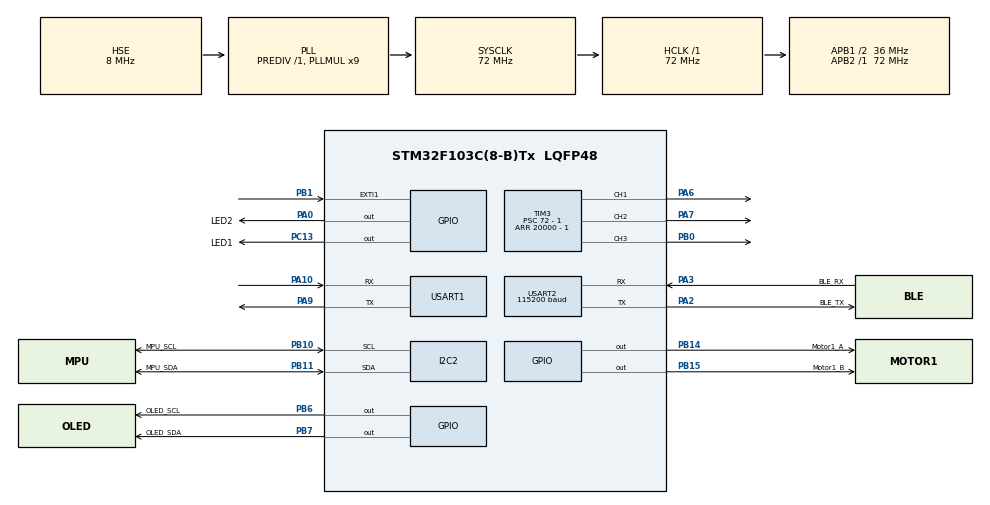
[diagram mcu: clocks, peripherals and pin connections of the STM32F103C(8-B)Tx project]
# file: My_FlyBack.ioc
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Dma.Request0=USART2_RX
Dma.Request1=USART2_TX
Dma.USART2_RX.0.Direction=DMA_PERIPH_TO_MEMORY
Dma.USART2_RX.0.Instance=DMA1_Channel6
Dma.USART2_RX.0.MemDataAlignment=DMA_MDATAALIGN_BYTE
Dma.USART2_RX.0.MemInc=DMA_MINC_ENABLE
Dma.USART2_RX.0.Mode=DMA_CIRCULAR
Dma.USART2_RX.0.PeriphDataAlignment=DMA_PDATAALIGN_BYTE
Dma.USART2_RX.0.PeriphInc=DMA_PINC_DISABLE
Dma.USART2_RX.0.Priority=DMA_PRIORITY_HIGH
Dma.USART2_TX.1.Direction=DMA_MEMORY_TO_PERIPH
Dma.USART2_TX.1.Instance=DMA1_Channel7
Dma.USART2_TX.1.MemDataAlignment=DMA_MDATAALIGN_BYTE
Dma.USART2_TX.1.MemInc=DMA_MINC_ENABLE
Dma.USART2_TX.1.Mode=DMA_CIRCULAR
Dma.USART2_TX.1.PeriphDataAlignment=DMA_PDATAALIGN_BYTE
Dma.USART2_TX.1.PeriphInc=DMA_PINC_DISABLE
Dma.USART2_TX.1.Priority=DMA_PRIORITY_LOW
FREERTOS.Tasks01=defaultTask,0,128,StartDefaultTask,Default,NULL,Dynamic,NULL,NULL;myTask02,-3,128,StartTask02,Default,NULL,Dynamic,NULL,NULL
I2C2.I2C_Mode=I2C_Fast
Mcu.Family=STM32F1
Mcu.Name=STM32F103C(8-B)Tx
Mcu.Package=LQFP48
NVIC.DMA1_Channel6_IRQn=true\:5\:0\:false\:false\:true\:true\:false\:true\:true
NVIC.DMA1_Channel7_IRQn=true\:5\:0\:false\:false\:true\:true\:false\:true\:true
NVIC.EXTI1_IRQn=true\:6\:0\:true\:false\:true\:true\:true\:true\:true
NVIC.PriorityGroup=NVIC_PRIORITYGROUP_4
NVIC.TIM2_IRQn=true\:6\:0\:true\:false\:true\:true\:true\:true\:true
NVIC.USART2_IRQn=true\:5\:0\:true\:false\:true\:true\:true\:true\:true
PA0-WKUP.GPIO_Label=LED2
PA0-WKUP.Signal=GPIO_Output
PA10.Mode=Asynchronous
PA10.Signal=USART1_RX
PA13.Mode=Serial_Wire
PA13.Signal=SYS_JTMS-SWDIO
PA14.Mode=Serial_Wire
PA14.Signal=SYS_JTCK-SWCLK
PA2.GPIO_Label=BLE_TX
PA2.Mode=Asynchronous
PA2.Signal=USART2_TX
PA3.GPIO_Label=BLE_RX
PA3.Mode=Asynchronous
PA3.Signal=USART2_RX
PA6.Signal=S_TIM3_CH1
PA7.Signal=S_TIM3_CH2
PA9.Mode=Asynchronous
PA9.Signal=USART1_TX
PB0.Signal=S_TIM3_CH3
PB1.GPIO_ModeDefaultEXTI=GPIO_MODE_IT_FALLING
PB1.Signal=GPXTI1
PB10.GPIO_Label=MPU_SCL
PB10.Mode=I2C
PB10.Signal=I2C2_SCL
PB11.GPIO_Label=MPU_SDA
PB11.Mode=I2C
PB11.Signal=I2C2_SDA
PB14.GPIO_Label=Motor1_A
PB14.GPIO_Speed=GPIO_SPEED_FREQ_LOW
PB14.Signal=GPIO_Output
PB15.GPIO_Label=Motor1_B
PB15.Signal=GPIO_Output
PB6.GPIO_Label=OLED_SCL
PB6.GPIO_Speed=GPIO_SPEED_FREQ_HIGH
PB6.Signal=GPIO_Output
PB7.GPIO_Label=OLED_SDA
PB7.GPIO_ModeDefaultOutputPP=GPIO_MODE_OUTPUT_OD
PB7.GPIO_PuPd=GPIO_PULLUP
PB7.GPIO_Speed=GPIO_SPEED_FREQ_HIGH
PB7.Signal=GPIO_Output
PC13-TAMPER-RTC.GPIO_Label=LED1
PC13-TAMPER-RTC.Signal=GPIO_Output
PD0-OSC_IN.Mode=HSE-External-Oscillator
PD0-OSC_IN.Signal=RCC_OSC_IN
PD1-OSC_OUT.Mode=HSE-External-Oscillator
PD1-OSC_OUT.Signal=RCC_OSC_OUT
ProjectManager.HeapSize=0x200
ProjectManager.StackSize=0x400
ProjectManager.TargetToolchain=SW4STM32
RCC.AHBFreq_Value=72000000
RCC.APB1CLKDivider=RCC_HCLK_DIV2
RCC.APB1Freq_Value=36000000
RCC.APB1TimFreq_Value=72000000
RCC.APB2Freq_Value=72000000
RCC.APB2TimFreq_Value=72000000
RCC.HCLKFreq_Value=72000000
RCC.PLLMUL=RCC_PLL_MUL9
RCC.PLLSourceVirtual=RCC_PLLSOURCE_HSE
RCC.SYSCLKFreq_VALUE=72000000
RCC.SYSCLKSource=RCC_SYSCLKSOURCE_PLLCLK
RCC.USBFreq_Value=72000000
SH.S_TIM3_CH1.0=TIM3_CH1,PWM Generation1 CH1
SH.S_TIM3_CH2.0=TIM3_CH2,PWM Generation2 CH2
SH.S_TIM3_CH3.0=TIM3_CH3,PWM Generation3 CH3
TIM2.Period=1000 - 1
TIM2.Prescaler=720 - 1
TIM3.Channel-PWM\ Generation1\ CH1=TIM_CHANNEL_1
TIM3.Channel-PWM\ Generation2\ CH2=TIM_CHANNEL_2
TIM3.Channel-PWM\ Generation3\ CH3=TIM_CHANNEL_3
TIM3.Period=20000 - 1
TIM3.Prescaler=72 - 1
USART1.VirtualMode=VM_ASYNC
USART2.BaudRate=115200
USART2.VirtualMode=VM_ASYNC
VP_FREERTOS_VS_CMSIS_V1.Mode=CMSIS_V1
VP_TIM2_VS_ClockSourceINT.Mode=Internal
VP_TIM3_VS_ClockSourceINT.Mode=Internal
board=custom

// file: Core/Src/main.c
/* USER CODE BEGIN Header */
/**
  ******************************************************************************
  * @file           : main.c
  * @brief          : Main program body
  ******************************************************************************
  * @attention
  *
  * Copyright (c) 2023 STMicroelectronics.
  * All rights reserved.
  *
  * This software is licensed under terms that can be found in the LICENSE file
  * in the root directory of this software component.
  * If no LICENSE file comes with this software, it is provided AS-IS.
  *
  ******************************************************************************
  */
/* USER CODE END Header */
#include "main.h"
#include "cmsis_os.h"
#include "dma.h"
#include "i2c.h"
#include "tim.h"
#include "usart.h"
#include "gpio.h"

/* USER CODE BEGIN Includes */
#include "retarget.h"
#include "Uart_RxPackage.h"
#include "OLED.h"
/* USER CODE END Includes */

void SystemClock_Config(void);
void MX_FREERTOS_Init(void);

/* USER CODE BEGIN 0 */
UartRx_Package Uart2_Package;
SystemStatusBit SysStatus = {.AdjustON_OFF = 0,.reserve = 0};

/* USER CODE END 0 */

int main(void)
{

  /* MCU Configuration--------------------------------------------------------*/

  /* Reset of all peripherals, Initializes the Flash interface and the Systick. */
  HAL_Init();

  /* USER CODE BEGIN Init */
    RetargetInit(&huart2); //重定向串口二
    //HAL_DMA_Start(&hdma1,);
  /* USER CODE END Init */

  /* Configure the system clock */
  SystemClock_Config();

  /* Initialize all configured peripherals */
  MX_GPIO_Init();
  MX_TIM2_Init();
  MX_DMA_Init();
  MX_USART1_UART_Init();
  MX_USART2_UART_Init();
  MX_TIM3_Init();
  MX_I2C2_Init();
  /* USER CODE BEGIN 2 */
    Uart_RxPackage_Init(&Uart2_Package,&htim2,100,&huart2); //初始化串口接收数组
    Uart_PackageStart(&Uart2_Package);
    HAL_Delay(250);

    OLED_Init();
  /* USER CODE END 2 */

  /* Call init function for freertos objects (in freertos.c) */
  MX_FREERTOS_Init();

  /* Start scheduler */
  osKernelStart();

  /* We should never get here as control is now taken by the scheduler */
  /* Infinite loop */
  while (1)
  {

  }
}

void SystemClock_Config(void)
{
  RCC_OscInitTypeDef RCC_OscInitStruct = {0};
  RCC_ClkInitTypeDef RCC_ClkInitStruct = {0};

  /** Initializes the RCC Oscillators according to the specified parameters
  * in the RCC_OscInitTypeDef structure.
  */
  RCC_OscInitStruct.OscillatorType = RCC_OSCILLATORTYPE_HSE;
  RCC_OscInitStruct.HSEState = RCC_HSE_ON;
  RCC_OscInitStruct.HSEPredivValue = RCC_HSE_PREDIV_DIV1;
  RCC_OscInitStruct.HSIState = RCC_HSI_ON;
  RCC_OscInitStruct.PLL.PLLState = RCC_PLL_ON;
  RCC_OscInitStruct.PLL.PLLSource = RCC_PLLSOURCE_HSE;
  RCC_OscInitStruct.PLL.PLLMUL = RCC_PLL_MUL9;
  if (HAL_RCC_OscConfig(&RCC_OscInitStruct) != HAL_OK)
  {
    Error_Handler();
  }

  /** Initializes the CPU, AHB and APB buses clocks
  */
  RCC_ClkInitStruct.ClockType = RCC_CLOCKTYPE_HCLK|RCC_CLOCKTYPE_SYSCLK
                              |RCC_CLOCKTYPE_PCLK1|RCC_CLOCKTYPE_PCLK2;
  RCC_ClkInitStruct.SYSCLKSource = RCC_SYSCLKSOURCE_PLLCLK;
  RCC_ClkInitStruct.AHBCLKDivider = RCC_SYSCLK_DIV1;
  RCC_ClkInitStruct.APB1CLKDivider = RCC_HCLK_DIV2;
  RCC_ClkInitStruct.APB2CLKDivider = RCC_HCLK_DIV1;

  if (HAL_RCC_ClockConfig(&RCC_ClkInitStruct, FLASH_LATENCY_2) != HAL_OK)
  {
    Error_Handler();
  }
}

void Error_Handler(void)
{
  __disable_irq();
  while (1)
  {
  }
}

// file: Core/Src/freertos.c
/* USER CODE BEGIN Header */
/**
  ******************************************************************************
  * File Name          : freertos.c
  * Description        : Code for freertos applications
  ******************************************************************************
  * @attention
  *
  * Copyright (c) 2024 STMicroelectronics.
  * All rights reserved.
  *
  * This software is licensed under terms that can be found in the LICENSE file
  * in the root directory of this software component.
  * If no LICENSE file comes with this software, it is provided AS-IS.
  *
  ******************************************************************************
  */
/* USER CODE END Header */

#include "FreeRTOS.h"
#include "task.h"
#include "main.h"
#include "cmsis_os.h"

/* USER CODE BEGIN Includes */
#include "retarget.h"
#include "usart.h"
#include "BrushlessMotor.h"
#include "tim.h"
#include "OLED.h"
#include "Uart_RxPackage.h"
#include "inv_mpu.h"
#include "MPU6050.h"
#include "PID_Control.h"
/* USER CODE END Includes */

/* USER CODE BEGIN Variables */
uint16_t i = 0;
float pitch = 0,row = 0,yaw = 0;
BRUSHLESS BLMotorHandle;
MPUHandle MyMpu = {.MPUIntPIN = GPIO_PIN_1,
                   .pitch = 0,.roll = 0,.yaw = 0};
PID_Handle BrushLessPID = {.kp = (float)0.00,.ki = 0,.kd = 0,
                           .TarVal = (float)0,.MaxOutVal = 100,.MaxIntegralVal = 2200,
                           .IntegralVal = 0,.LastVal = 0,.PreVal = 0};
/* USER CODE END Variables */
osThreadId defaultTaskHandle;
osThreadId myTask02Handle;

void StartDefaultTask(void const * argument);
void StartTask02(void const * argument);

void MX_FREERTOS_Init(void); /* (MISRA C 2004 rule 8.1) */

/* GetIdleTaskMemory prototype (linked to static allocation support) */
void vApplicationGetIdleTaskMemory( StaticTask_t **ppxIdleTaskTCBBuffer, StackType_t **ppxIdleTaskStackBuffer, uint32_t *pulIdleTaskStackSize );

/* USER CODE BEGIN GET_IDLE_TASK_MEMORY */
static StaticTask_t xIdleTaskTCBBuffer;
static StackType_t xIdleStack[configMINIMAL_STACK_SIZE];

void vApplicationGetIdleTaskMemory( StaticTask_t **ppxIdleTaskTCBBuffer, StackType_t **ppxIdleTaskStackBuffer, uint32_t *pulIdleTaskStackSize )
{
  *ppxIdleTaskTCBBuffer = &xIdleTaskTCBBuffer;
  *ppxIdleTaskStackBuffer = &xIdleStack[0];
  *pulIdleTaskStackSize = configMINIMAL_STACK_SIZE;
  /* place for user code */
}
/* USER CODE END GET_IDLE_TASK_MEMORY */

void MX_FREERTOS_Init(void) {
  /* USER CODE BEGIN Init */
    RetargetInit(&huart1); //定向串口�?????????为printf调试�?????????

    Uart_RxPackage_Init(&Uart2_Package,&htim2,100,&huart2); //初始化蓝牙收发串�?????????
    Uart_PackageStart(&Uart2_Package);      //�?????????启蓝牙串口收�?????????

    mpu_dmp_init(); //初始化MPU9250

    BrushLessMotor_Init(&BLMotorHandle,&htim3); //初始化三个无刷电机
    OLED_Init(); //初始化OLED
  /* USER CODE END Init */

  /* Create the thread(s) */
  /* definition and creation of defaultTask */
  osThreadDef(defaultTask, StartDefaultTask, osPriorityNormal, 0, 128);
  defaultTaskHandle = osThreadCreate(osThread(defaultTask), NULL);

  /* definition and creation of myTask02 */
  osThreadDef(myTask02, StartTask02, osPriorityIdle, 0, 128);
  myTask02Handle = osThreadCreate(osThread(myTask02), NULL);

}

void StartDefaultTask(void const * argument)
{
  /* USER CODE BEGIN StartDefaultTask */

  /*此函数会阻塞8s左右*/
    AllBrushlessMotor_Start(&BLMotorHandle);

    /* Infinite loop */
  for(;;)
  {
      //开始调整
      if(SysStatus.AdjustON_OFF == 1)
      {
          //BrushLessMotor_Set(&BLMotorHandle,Right,1400);
          BrushLessMotor_Set(&BLMotorHandle,Left,1800);
          BrushLessMotor_Set(&BLMotorHandle,Below,1400);

          BrushLessMotor_AllMove(BLMotorHandle);

          Posture_Adjust(&BLMotorHandle,MyMpu);
      }
      //停止调整
      else if(SysStatus.AdjustON_OFF == 0)
      {
          BrushLessMotor_Set(&BLMotorHandle,Right,MotorMidPERIOD);
          BrushLessMotor_Set(&BLMotorHandle,Left,MotorMidPERIOD);
          BrushLessMotor_Set(&BLMotorHandle,Below,MotorMidPERIOD);

          BrushLessMotor_AllMove(BLMotorHandle);
      }
      HAL_GPIO_TogglePin(LED1_GPIO_Port,LED1_Pin);
    osDelay(100);
  }
  /* USER CODE END StartDefaultTask */
}

void StartTask02(void const * argument)
{
  /* USER CODE BEGIN StartTask02 */
    OLED_ShowString(1,1,"Pitch:");
    OLED_ShowString(2,1,"Roll:  ");
    OLED_ShowString(3,1,"Yaw:  ");

    /* Infinite loop */
  for(;;)
  {
      /*临界区还是不太�?�合放这里，因为这个MPU的读取函数太大了*/
      //taskENTER_CRITICAL();
//      while(mpu_dmp_get_data(&pitch,&row,&yaw) != 0); //获取角度的代码放到了外部中断里面
      //taskEXIT_CRITICAL();

      OLED_ShowFNum(1,7,MyMpu.pitch,3,1);
      OLED_ShowFNum(2,7,MyMpu.roll,3,1);
      OLED_ShowFNum(3,7,MyMpu.yaw,3,1);
      if(Uart2_Package.RxEndFalg == 1) //说明串口中断接收结束
      {
          Uart_DoTask(&Uart2_Package);
      }
      osDelay(50);
  }
  /* USER CODE END StartTask02 */
}
